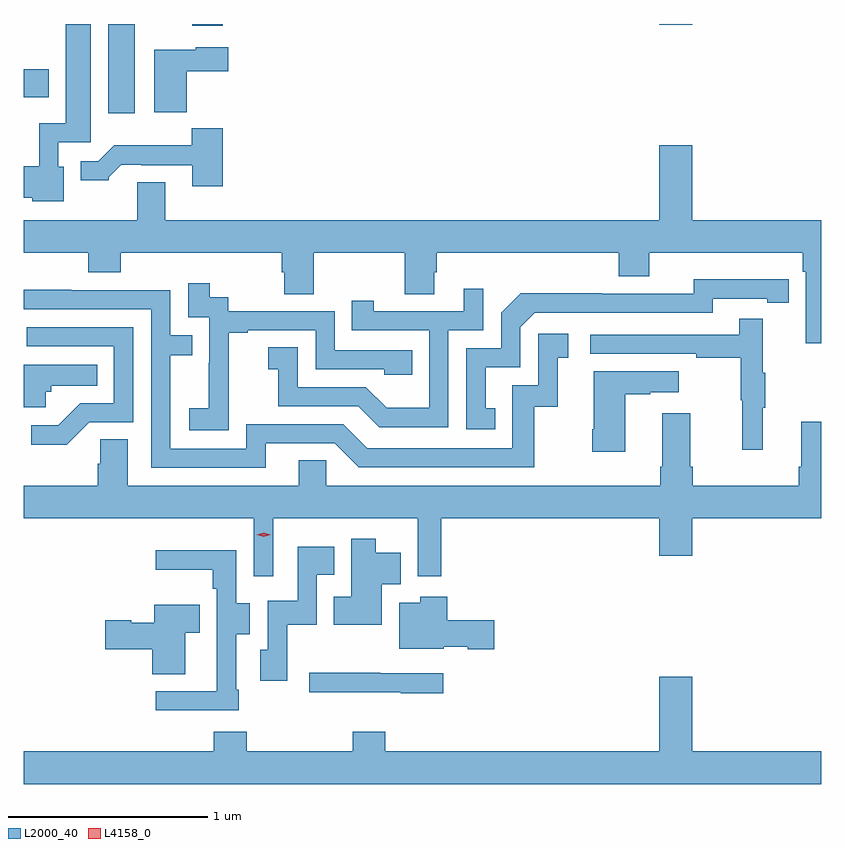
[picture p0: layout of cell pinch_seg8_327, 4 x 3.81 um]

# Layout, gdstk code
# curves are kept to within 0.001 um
import gdstk
lib = gdstk.Library(unit=1e-6, precision=1e-09)
def R(c, l, rs):  # rectangles x0, y0, x1, y1
    for r in rs: c.add(gdstk.rectangle(r[:2], r[2:], *l))
def P(c, l, *ps):  # polygons
    for p in ps: c.add(gdstk.Polygon(p, *l))
L2000_40 = (2000, 40)
L4158_0 = (4158, 0)

pinch_seg8_327 = lib.new_cell('pinch_seg8_327')
R(pinch_seg8_327, L2000_40, [(378.029,1151.832,378.16,1152.279), (377.604,1151.912,377.731,1152.052), (378.449,1152.27,378.602,1152.279), (380.792,1152.276,380.956,1152.279)])
P(pinch_seg8_327, L2000_40, [(377.806,1151.562),(377.778,1151.562),(377.778,1151.685),(377.941,1151.685),(377.941,1152.277),(377.816,1152.277),(377.816,1151.782),(377.682,1151.782),(377.682,1151.566),(377.604,1151.566),(377.604,1151.408),(377.646,1151.408),(377.646,1151.39),(377.806,1151.39)],
  [(378.422,1152.041),(378.631,1152.041),(378.631,1152.163),(378.468,1152.163),(378.468,1152.151),(378.26,1152.151),(378.26,1151.837),(378.422,1151.837)],
  [(378.602,1151.755),(378.447,1151.755),(378.447,1151.671),(378.058,1151.671),(377.979,1151.592),(377.891,1151.592),(377.891,1151.495),(378.03,1151.495),(378.03,1151.51),(378.094,1151.574),(378.193,1151.574),(378.193,1151.571),(378.449,1151.571),(378.449,1151.466),(378.602,1151.466)],
  [(381.604,1151.296),(380.956,1151.296),(380.956,1151.671),(380.792,1151.671),(380.792,1151.296),(378.313,1151.296),(378.313,1151.486),(378.173,1151.486),(378.173,1151.296),(377.604,1151.296),(377.604,1151.132),(377.927,1151.132),(377.927,1151.033),(378.092,1151.033),(378.092,1151.132),(378.899,1151.132),(378.899,1151.034),(378.911,1151.034),(378.911,1150.924),(379.059,1150.924),(379.059,1151.132),(379.516,1151.132),(379.516,1150.924),(379.663,1150.924),(379.663,1151.034),(379.676,1151.034),(379.676,1151.132),(380.588,1151.132),(380.588,1151.015),(380.74,1151.015),(380.74,1151.132),(381.512,1151.132),(381.512,1151.036),(381.525,1151.036),(381.525,1150.677),(381.604,1150.677)],
  [(379.97,1150.353),(379.921,1150.353),(379.921,1150.557),(380.094,1150.557),(380.094,1150.758),(380.166,1150.83),(381.06,1150.83),(381.06,1150.902),(381.332,1150.902),(381.332,1150.882),(381.44,1150.882),(381.44,1150.998),(380.964,1150.999),(380.964,1150.926),(380.504,1150.926),(380.504,1150.928),(380.096,1150.928),(379.998,1150.83),(379.998,1150.653),(379.824,1150.653),(379.824,1150.248),(379.97,1150.248)],
  [(378.633,1150.447),(378.632,1150.447),(378.632,1150.731),(378.727,1150.731),(378.727,1150.743),(379.068,1150.743),(379.068,1150.548),(379.413,1150.548),(379.413,1150.521),(379.553,1150.521),(379.553,1150.644),(379.164,1150.644),(379.164,1150.839),(378.63,1150.839),(378.63,1150.908),(378.538,1150.908),(378.538,1150.978),(378.429,1150.978),(378.429,1150.809),(378.534,1150.809),(378.534,1150.58),(378.533,1150.58),(378.533,1150.351),(378.435,1150.351),(378.435,1150.241),(378.633,1150.241)],
  [(379.734,1150.743),(379.908,1150.743),(379.908,1150.951),(379.811,1150.951),(379.811,1150.839),(379.36,1150.839),(379.36,1150.891),(379.249,1150.891),(379.249,1150.743),(379.638,1150.743),(379.638,1150.354),(379.424,1150.354),(379.32,1150.458),(378.978,1150.458),(378.978,1150.657),(378.831,1150.657),(378.831,1150.547),(378.88,1150.547),(378.88,1150.362),(379.283,1150.362),(379.388,1150.257),(379.734,1150.257)],
  [(378.817,1150.176),(379.164,1150.176),(379.284,1150.056),(380.164,1150.056),(380.164,1150.359),(380.282,1150.359),(380.282,1150.605),(380.335,1150.605),(380.335,1150.726),(380.184,1150.726),(380.184,1150.467),(380.055,1150.467),(380.055,1150.152),(379.326,1150.152),(379.206,1150.272),(378.72,1150.272),(378.72,1150.149),(378.339,1150.149),(378.339,1150.618),(378.449,1150.618),(378.449,1150.719),(378.339,1150.719),(378.339,1150.944),(377.843,1150.944),(377.843,1150.946),(377.604,1150.946),(377.604,1150.848),(378.243,1150.848),(378.243,1150.053),(378.817,1150.053)],
  [(381.311,1150.355),(381.322,1150.355),(381.322,1150.529),(381.311,1150.529),(381.311,1150.801),(381.193,1150.801),(381.193,1150.722),(380.445,1150.722),(380.445,1150.626),(380.977,1150.626),(380.977,1150.606),(381.201,1150.606),(381.201,1150.392),(381.208,1150.392),(381.208,1150.143),(381.311,1150.143)],
  [(377.934,1150.281),(378.153,1150.281),(378.153,1150.758),(377.619,1150.758),(377.619,1150.662),(378.057,1150.662),(378.057,1150.377),(377.888,1150.377),(377.777,1150.266),(377.643,1150.266),(377.643,1150.169),(377.821,1150.169)],
  [(377.715,1150.434),(377.742,1150.434),(377.742,1150.466),(377.972,1150.466),(377.972,1150.57),(377.604,1150.57),(377.604,1150.358),(377.715,1150.358)],
  [(380.62,1150.423),(380.747,1150.423),(380.747,1150.433),(380.89,1150.433),(380.89,1150.537),(380.462,1150.537),(380.462,1150.246),(380.455,1150.246),(380.455,1150.134),(380.62,1150.134)],
  [(379.581,1149.51),(379.697,1149.51),(379.697,1149.8),(380.792,1149.8),(380.792,1149.612),(380.956,1149.612),(380.956,1149.8),(381.604,1149.8),(381.604,1150.285),(381.503,1150.285),(381.503,1150.06),(381.491,1150.06),(381.491,1149.964),(380.96,1149.964),(380.96,1150.06),(380.947,1150.06),(380.947,1150.327),(380.807,1150.327),(380.807,1150.06),(380.795,1150.06),(380.795,1149.964),(379.122,1149.964),(379.122,1150.091),(378.983,1150.091),(378.983,1149.964),(378.127,1149.964),(378.127,1150.196),(377.988,1150.196),(377.988,1150.073),(377.975,1150.073),(377.975,1149.964),(377.604,1149.964),(377.604,1149.8),(378.759,1149.8),(378.759,1149.51),(378.855,1149.51),(378.855,1149.8),(379.581,1149.8)],
  [(379.399,1149.47),(379.496,1149.47),(379.496,1149.628),(379.369,1149.628),(379.369,1149.697),(379.247,1149.697),(379.247,1149.406),(379.159,1149.406),(379.159,1149.266),(379.399,1149.266)],
  [(378.927,1149.266),(379.074,1149.266),(379.074,1149.518),(379.162,1149.518),(379.162,1149.658),(378.978,1149.658),(378.978,1149.388),(378.828,1149.388),(378.828,1149.141),(378.791,1149.141),(378.791,1148.985),(378.927,1148.985)],
  [(378.682,1148.941),(378.669,1148.941),(378.669,1149.22),(378.739,1149.22),(378.739,1149.375),(378.669,1149.375),(378.669,1149.64),(378.267,1149.64),(378.267,1149.542),(378.553,1149.542),(378.553,1149.446),(378.573,1149.446),(378.573,1149.131),(378.572,1149.131),(378.572,1148.934),(378.267,1148.934),(378.267,1148.838),(378.682,1148.838)],
  [(379.963,1149.29),(379.727,1149.29),(379.727,1149.406),(379.592,1149.406),(379.592,1149.376),(379.487,1149.376),(379.487,1149.146),(379.71,1149.146),(379.71,1149.155),(379.83,1149.155),(379.83,1149.143),(379.963,1149.143)],
  [(378.415,1149.227),(378.488,1149.227),(378.488,1149.367),(378.26,1149.367),(378.26,1149.277),(378.144,1149.277),(378.144,1149.29),(378.012,1149.29),(378.012,1149.143),(378.248,1149.143),(378.248,1149.019),(378.415,1149.019)],
  [(379.708,1149.024),(379.391,1149.024),(379.391,1149.027),(379.035,1149.027),(379.035,1148.927),(379.495,1148.927),(379.495,1148.923),(379.708,1148.923)],
  [(381.604,1148.632),(380.956,1148.632),(380.956,1149.007),(380.792,1149.007),(380.792,1148.632),(379.418,1148.632),(379.418,1148.731),(379.253,1148.731),(379.253,1148.632),(378.722,1148.632),(378.722,1148.731),(378.557,1148.731),(378.557,1148.632),(377.604,1148.632),(377.604,1148.468),(381.604,1148.468)])
P(pinch_seg8_327, L4158_0, [(378.807,1149.707),(378.772,1149.717),(378.771,1149.717),(378.772,1149.717),(378.807,1149.727),(378.843,1149.718),(378.843,1149.718),(378.843,1149.718)])

lib.write_gds('pinch_seg8_327.gds')
